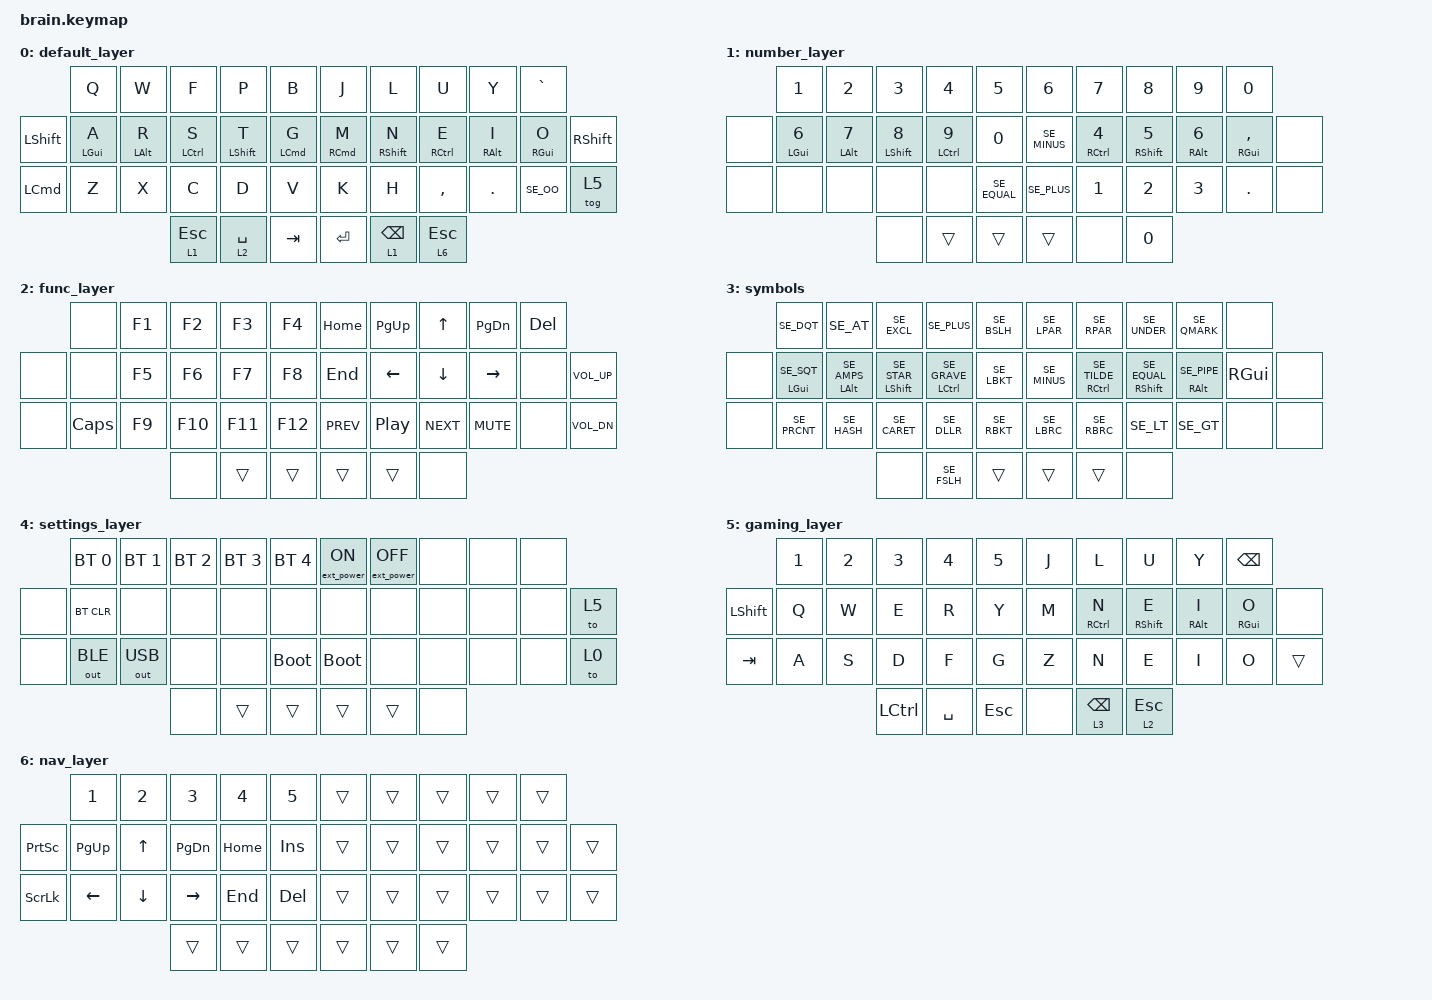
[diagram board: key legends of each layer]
/*
 * Copyright (c) 2020 The ZMK Contributors
 *
 * SPDX-License-Identifier: MIT
 */

#include <behaviors.dtsi>
#include <dt-bindings/zmk/bt.h>
#include <dt-bindings/zmk/ext_power.h>
#include <dt-bindings/zmk/keys.h>
#include <dt-bindings/zmk/outputs.h>

#define DEFAULT     0
#define GAMING      1
#define SYMBOLS_SWE 2
#define FUNC        3
#define NUMBER      4
#define SETTINGS    5

/ {
    behaviors {
        hm: homerow_mods {
            compatible = "zmk,behavior-hold-tap";
            label = "HOMEROW_MODS";
            #binding-cells = <2>;
            tapping-term-ms = <200>;
            quick-tap-ms = <0>;
            flavor = "tap-preferred";
            bindings = <&kp>, <&kp>;
        };

        hs: homerow_mods_slow {
            compatible = "zmk,behavior-hold-tap";
            label = "HOMEROW_MODS_SLOW";
            #binding-cells = <2>;
            tapping-term-ms = <300>;
            quick-tap-ms = <0>;
            flavor = "tap-preferred";
            bindings = <&kp>, <&kp>;
        };
    };

    cond_layers {
        compatible = "zmk,conditional-layers";

        // Define SETTINGS layer as tri-state

        func_tristate {
            if-layers = <3 2>;
            then-layer = <4>;
        };
    };

    /*           40 Keys
╭─────────────────╮ ╭─────────────────╮
│    0  1  2  3  4│ │ 5  6  7  8  9   │
│10 11 12 13 14 15│ │16 17 18 19 20 21│
│22 23 24 25 26 27│ │28 29 30 31 32 33│
╰────────╮34 35 36│ │37 38 39╭────────╯
         ╰────────╯ ╰────────╯       */
    /*    combos {
        compatible = "zmk,combos";

        combo_esc {
            timeout-ms = <50>;
            key-positions = <0 1>;
            bindings = <&kp ESC>;
        };
        combo_tab {
            timeout-ms = <50>;
            key-positions = <10 11>;
            bindings = <&kp TAB>;
        };
        combo_ralt {
            timeout-ms = <50>;
            key-positions = <17 16>;
            bindings = <&kp RALT>;
        };
        combo_lalt {
            timeout-ms = <50>;
            key-positions = <11 12>;
            bindings = <&kp LALT>;
        };
        combo_lgui {
            timeout-ms = <50>;
            key-positions = <12 13>;
            bindings = <&kp LGUI>;
        };
        combo_rgui {
            timeout-ms = <50>;
            key-positions = <17 18>;
            bindings = <&kp RGUI>;
        };
    }; */

    keymap {
        compatible = "zmk,keymap";

        default_layer {
            bindings = <
                  &kp Q       &kp W       &kp F         &kp P             &kp B               &kp J                &kp L              &kp U        &kp Y       &kp GRAVE
&kp LSHIFT        &hs LGUI A  &hm LALT R  &hm LCTRL S   &hm LEFT_SHIFT T  &hm LEFT_COMMAND G  &hm RIGHT_COMMAND M  &hm RIGHT_SHIFT N  &hm RCTRL E  &hm RALT I  &hs RGUI O  &kp RIGHT_SHIFT
&kp LEFT_COMMAND  &kp Z       &kp X       &kp C         &kp D             &kp V               &kp K                &kp H              &kp COMMA    &kp DOT     &kp SE_OO   &tog 5
                                          &lt 1 ESCAPE  &lt 2 SPACE       &kp TAB             &kp ENTER            &lt 1 BSPC         &lt 6 ESC
            >;
        };

        number_layer {
            bindings = <
       &kp N1       &kp N2       &kp N3         &kp N4        &kp N5        &kp N6        &kp N7        &kp N8         &kp N9       &kp N0
&none  &hs LGUI N6  &hm LALT N7  &hm LSHIFT N8  &hm LCTRL N9  &kp N0        &kp SE_MINUS  &hm RCTRL N4  &hm RSHIFT N5  &hm RALT N6  &hm RGUI COMMA  &none
&none  &none        &none        &none          &none         &kp SE_EQUAL  &kp SE_PLUS   &kp N1        &kp N2         &kp N3       &kp DOT         &none
                                 &none          &trans        &trans        &trans        &none         &kp N0
            >;
        };

        func_layer {
            bindings = <
       &none     &kp F1  &kp F2   &kp F3   &kp F4   &kp HOME    &kp PG_UP  &kp UP      &kp PG_DN   &kp DEL
&none  &none     &kp F5  &kp F6   &kp F7   &kp F8   &kp END     &kp LEFT   &kp DOWN    &kp RIGHT   &none    &kp C_VOL_UP
&none  &kp CAPS  &kp F9  &kp F10  &kp F11  &kp F12  &kp C_PREV  &kp C_PP   &kp C_NEXT  &kp K_MUTE  &none    &kp C_VOL_DN
                         &none    &trans   &trans   &trans      &trans     &none
            >;
        };

        symbols {
            bindings = <
       &kp SE_DQT       &kp SE_AT         &kp SE_EXCL         &kp SE_PLUS         &kp SE_BSLH  &kp SE_LPAR   &kp SE_RPAR         &kp SE_UNDER         &kp SE_QMARK      &none
&none  &hs LGUI SE_SQT  &hm LALT SE_AMPS  &hm LSHIFT SE_STAR  &hm LCTRL SE_GRAVE  &kp SE_LBKT  &kp SE_MINUS  &hm RCTRL SE_TILDE  &hm RSHIFT SE_EQUAL  &hm RALT SE_PIPE  &kp RGUI  &none
&none  &kp SE_PRCNT     &kp SE_HASH       &kp SE_CARET        &kp SE_DLLR         &kp SE_RBKT  &kp SE_LBRC   &kp SE_RBRC         &kp SE_LT            &kp SE_GT         &none     &none
                                          &none               &kp SE_FSLH         &trans       &trans        &trans              &none
            >;
        };

        settings_layer {
            bindings = <
       &bt BT_SEL 0  &bt BT_SEL 1  &bt BT_SEL 2  &bt BT_SEL 3  &bt BT_SEL 4  &ext_power EP_ON  &ext_power EP_OFF  &none  &none  &none
&none  &bt BT_CLR    &none         &none         &none         &none         &none             &none              &none  &none  &none  &to 5
&none  &out OUT_BLE  &out OUT_USB  &none         &none         &bootloader   &bootloader       &none              &none  &none  &none  &to 0
                                   &none         &trans        &trans        &trans            &trans             &none
            >;
        };

        gaming_layer {
            bindings = <
            &kp N1  &kp N2  &kp N3     &kp N4     &kp N5   &kp J  &kp L        &kp U         &kp Y       &kp BSPC
&kp LSHIFT  &kp Q   &kp W   &kp E      &kp R      &kp Y    &kp M  &hm RCTRL N  &hm RSHIFT E  &hm RALT I  &hs RGUI O  &none
&kp TAB     &kp A   &kp S   &kp D      &kp F      &kp G    &kp Z  &kp N        &kp E         &kp I       &kp O       &trans
                            &kp LCTRL  &kp SPACE  &kp ESC  &none  &lt 3 BSPC   &lt 2 ESC
            >;
        };

        nav_layer {
            bindings = <
                 &kp NUMBER_1  &kp NUMBER_2  &kp NUMBER_3   &kp NUMBER_4  &kp NUMBER_5  &trans  &trans  &trans  &trans  &trans
&kp PRINTSCREEN  &kp PG_UP     &kp UP_ARROW  &kp PAGE_DOWN  &kp HOME      &kp INS       &trans  &trans  &trans  &trans  &trans  &trans
&kp SCROLLLOCK   &kp LEFT      &kp DOWN      &kp RIGHT      &kp END       &kp DELETE    &trans  &trans  &trans  &trans  &trans  &trans
                                             &trans         &trans        &trans        &trans  &trans  &trans
            >;
        };
    };
};
